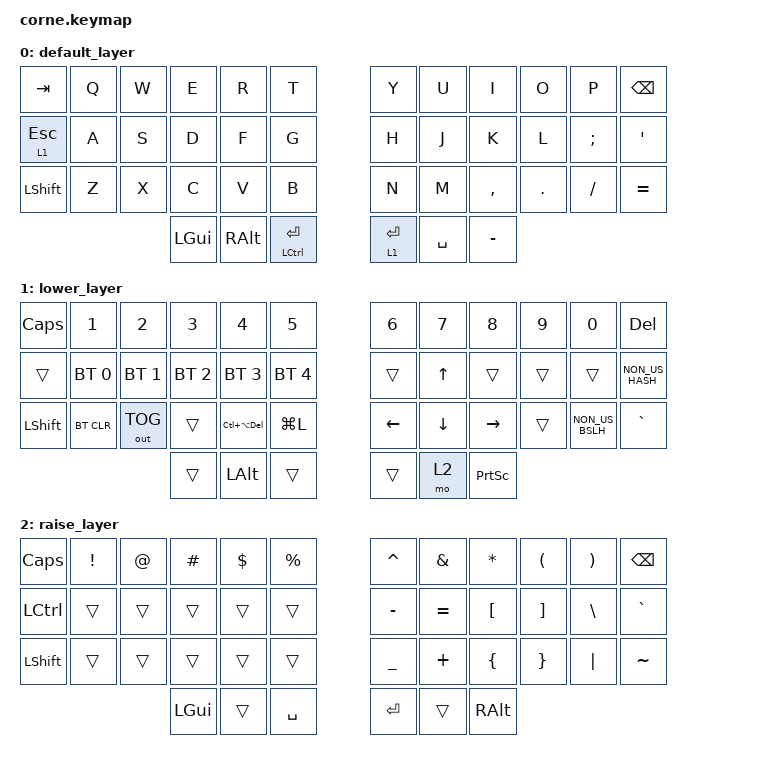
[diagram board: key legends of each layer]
/*
 * Copyright (c) 2020 The ZMK Contributors
 *
 * SPDX-License-Identifier: MIT
 */

#include <behaviors.dtsi>
#include <dt-bindings/zmk/keys.h>
#include <dt-bindings/zmk/bt.h>
#include <dt-bindings/zmk/rgb.h>
#include <dt-bindings/zmk/outputs.h>
#include <dt-bindings/zmk/ext_power.h>

/ {
        keymap {
                compatible = "zmk,keymap";

                default_layer {
// -----------------------------------------------------------------------------------------
// | TAB  |  Q  |  W  |  E  |  R  |  T  |   |  Y  |  U   |  I  |  O  |  P  | BKSP |
// |1(ESC)|  A  |  S  |  D  |  F  |  G  |   |  H  |  J   |  K  |  L  |  ;  |  '   |
// | SHFT |  Z  |  X  |  C  |  V  |  B  |   |  N  |  M   |  ,  |  .  |  /  |  =   |
//                    | GUI | ALT | CTRL|   |1(EN)| SPC  | -   |
                        bindings = <
   &kp TAB   &kp Q    &kp W    &kp E           &kp R &kp T        &kp Y       &kp U     &kp I     &kp O   &kp P    &kp BSPC
   &lt 1 ESC &kp A    &kp S    &kp D           &kp F &kp G        &kp H       &kp J     &kp K     &kp L   &kp SEMI &kp SQT
   &kp LSHFT &kp Z    &kp X    &kp C           &kp V &kp B        &kp N       &kp M     &kp COMMA &kp DOT &kp FSLH &kp EQUAL
             &kp LGUI &kp RALT &mt LCTRL ENTER                    &lt 1 ENTER &kp SPACE &kp MINUS
                        >;
                };
                lower_layer {
// -----------------------------------------------------------------------------------------
// | CLCK |  1  |  2  |  3  |  4  |  5  |   |  6  |  7  |  8  |  9  |  0  | DEL  |
// |      | BT1 | BT2 | BT3 | BT4 | BT5 |   |     | UP  |     |     |     |   #  |
// | SHFT |BTCLR| TOG |     | 3FS |WIN+L|   | LFT | DWN | RGT |     |  \  |   `  |
//                    |     | ALT |     |   |     | ADJ |PSCRN|
                        bindings = <
   &kp CLCK  &kp N1       &kp N2       &kp N3       &kp N4          &kp N5             &kp N6   &kp N7    &kp N8    &kp N9 &kp N0          &kp DEL
   &trans    &bt BT_SEL 0 &bt BT_SEL 1 &bt BT_SEL 2 &bt BT_SEL 3    &bt BT_SEL 4       &trans   &kp UP    &trans    &trans &trans          &kp NON_US_HASH
   &kp LSHFT &bt BT_CLR   &out OUT_TOG &trans       &kp LC(LA(DEL)) &kp LG(L)          &kp LEFT &kp DOWN  &kp RIGHT &trans &kp NON_US_BSLH &kp GRAVE
                                       &trans       &kp LALT        &trans             &trans   &mo 2     &kp PSCRN
                        >;
                };

                raise_layer {
// -----------------------------------------------------------------------------------------
// | CLCK |  !  |  @  |  #  |  $  |  %  |   |  ^  |  &  |  *  |  (  |  )  | BKSP |
// | CTRL |     |     |     |     |     |   |  -  |  =  |  [  |  ]  |  \  |  `   |
// | SHFT |     |     |     |     |     |   |  _  |  +  |  {  |  }  | "|" |  ~   |
//                    | GUI |     | SPC |   | ENT |     | ALT |
                        bindings = <
   &kp CLCK  &kp EXCL &kp AT &kp HASH &kp DLLR &kp PRCNT   &kp CARET &kp AMPS  &kp ASTRK &kp LPAR &kp RPAR &kp BSPC
   &kp LCTRL &trans   &trans &trans   &trans   &trans      &kp MINUS &kp EQUAL &kp LBKT  &kp RBKT &kp BSLH &kp GRAVE
   &kp LSHFT &trans   &trans &trans   &trans   &trans      &kp UNDER &kp PLUS  &kp LBRC  &kp RBRC &kp PIPE &kp TILDE
                             &kp LGUI &trans   &kp SPACE   &kp RET   &trans    &kp RALT
                        >;
                };
        };
};
